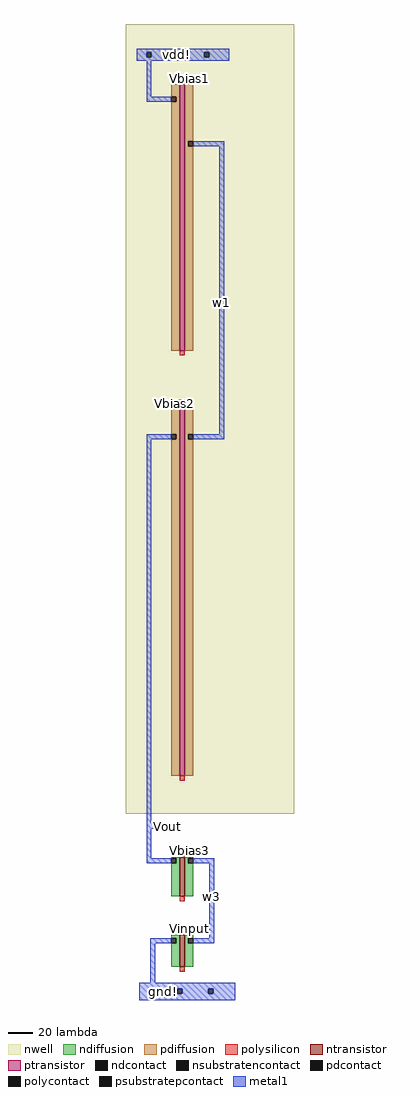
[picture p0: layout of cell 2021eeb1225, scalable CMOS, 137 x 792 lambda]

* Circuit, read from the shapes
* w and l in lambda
.subckt 2021eeb1225 Vbias1 Vbias2 Vbias3 Vinput Vout gnd! vdd! w1 w3
M1 w3 Vinput gnd! gnd! nfet w=26 l=4
M2 w3 Vbias3 Vout gnd! nfet w=32 l=4
M3 w1 Vbias2 Vout vdd! pfet w=298 l=4
M4 w1 Vbias1 vdd! vdd! pfet w=216 l=4
.ends

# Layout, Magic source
magic
tech scmos
<< nwell >>
rect -42 -457 95 184
<< ntransistor >>
rect 2 -524 6 -492
rect 2 -581 6 -555
<< ptransistor >>
rect 2 -81 6 135
rect 2 -426 6 -128
<< ndiffusion >>
rect -5 -493 2 -492
rect -1 -497 2 -493
rect -5 -524 2 -497
rect 6 -493 13 -492
rect 6 -497 9 -493
rect 6 -524 13 -497
rect -5 -558 2 -555
rect -1 -562 2 -558
rect -5 -581 2 -562
rect 6 -558 13 -555
rect 6 -562 9 -558
rect 6 -581 13 -562
<< pdiffusion >>
rect -5 125 2 135
rect -1 121 2 125
rect -5 -81 2 121
rect 6 89 13 135
rect 6 85 9 89
rect 6 -81 13 85
rect -5 -149 2 -128
rect -1 -153 2 -149
rect -5 -426 2 -153
rect 6 -149 13 -128
rect 6 -153 9 -149
rect 6 -426 13 -153
<< ndcontact >>
rect -5 -497 -1 -493
rect 9 -497 13 -493
rect -5 -562 -1 -558
rect 9 -562 13 -558
<< pdcontact >>
rect -5 121 -1 125
rect 9 85 13 89
rect -5 -153 -1 -149
rect 9 -153 13 -149
<< psubstratepcontact >>
rect -22 -603 -18 -599
rect 0 -603 4 -599
rect 25 -603 29 -599
<< nsubstratencontact >>
rect -25 157 -21 161
rect 1 157 5 161
rect 22 157 26 161
<< polysilicon >>
rect 2 137 4 142
rect 2 135 6 137
rect 2 -85 6 -81
rect 4 -126 6 -121
rect 2 -128 6 -126
rect 2 -430 6 -426
rect 2 -490 4 -485
rect 2 -492 6 -490
rect 2 -528 6 -524
rect 2 -553 4 -548
rect 2 -555 6 -553
rect 2 -585 6 -581
<< polycontact >>
rect 4 137 8 142
rect 0 -126 4 -121
rect 4 -490 8 -485
rect 4 -553 8 -548
<< metal1 >>
rect -33 161 42 164
rect -33 157 -25 161
rect -21 157 1 161
rect 5 157 22 161
rect 26 157 42 161
rect -33 154 42 157
rect -25 125 -21 154
rect 8 137 12 142
rect -25 121 -5 125
rect 13 85 38 89
rect -4 -126 0 -121
rect 34 -149 38 85
rect -25 -153 -5 -149
rect 13 -153 38 -149
rect -25 -465 -21 -153
rect -25 -469 -4 -465
rect -25 -493 -21 -469
rect 8 -490 13 -485
rect -25 -497 -5 -493
rect 13 -497 30 -493
rect 8 -553 13 -548
rect 26 -558 30 -497
rect -22 -562 -5 -558
rect 13 -562 30 -558
rect -22 -594 -18 -562
rect -31 -599 47 -594
rect -31 -603 -22 -599
rect -18 -603 0 -599
rect 4 -603 25 -599
rect 29 -603 47 -599
rect -31 -608 47 -603
<< labels >>
rlabel metal1 -1 159 -1 159 1 vdd!
rlabel metal1 -11 -601 -11 -601 1 gnd!
rlabel metal1 -2 -124 -2 -124 1 Vbias2
rlabel metal1 10 140 10 140 1 Vbias1
rlabel metal1 10 -487 10 -487 1 Vbias3
rlabel metal1 10 -550 10 -550 1 Vinput
rlabel metal1 36 -42 36 -42 1 w1
rlabel metal1 28 -524 28 -524 1 w3
rlabel metal1 -8 -467 -8 -467 1 Vout
<< end >>
